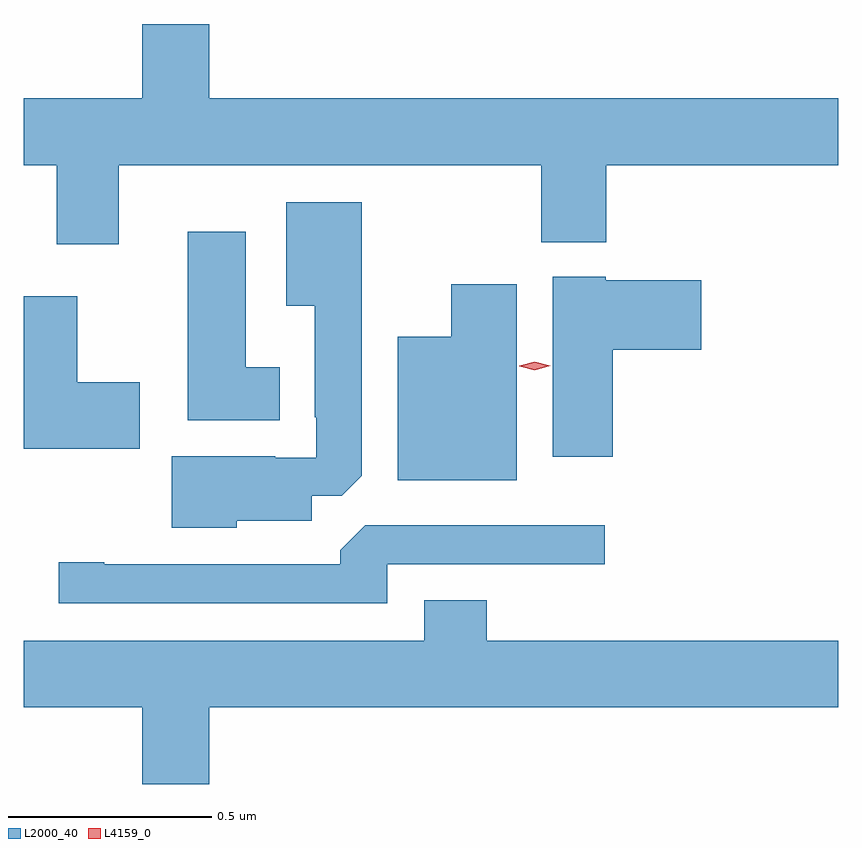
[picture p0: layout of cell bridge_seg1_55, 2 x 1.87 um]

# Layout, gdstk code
import gdstk
lib = gdstk.Library(unit=1e-6, precision=1e-09)
def P(c, l, *ps):  # polygons
    for p in ps: c.add(gdstk.Polygon(p, *l))
L2000_40 = (2000, 40)
L4159_0 = (4159, 0)

bridge_seg1_55 = lib.new_cell('bridge_seg1_55')
P(bridge_seg1_55, L2000_40, [(428.686,541.076),(429.724,541.076),(429.724,540.887),(429.884,540.887),(429.884,541.076),(430.453,541.076),(430.453,541.24),(428.908,541.24),(428.908,541.423),(428.744,541.423),(428.744,541.24),(428.453,541.24),(428.453,541.076),(428.534,541.076),(428.534,540.882),(428.686,540.882)],
  [(428.976,540.203),(429.16,540.203),(429.16,540.264),(429.234,540.264),(429.283,540.313),(429.283,540.985),(429.098,540.985),(429.098,540.731),(429.167,540.731),(429.167,540.457),(429.171,540.457),(429.171,540.357),(429.071,540.357),(429.071,540.361),(428.816,540.361),(428.816,540.185),(428.976,540.185)],
  [(429.082,540.58),(428.998,540.58),(428.998,540.913),(428.855,540.913),(428.855,540.449),(429.082,540.449)],
  [(429.899,540.623),(430.117,540.623),(430.117,540.793),(429.882,540.793),(429.882,540.802),(429.752,540.802),(429.752,540.36),(429.899,540.36)],
  [(429.664,540.784),(429.503,540.784),(429.503,540.655),(429.371,540.655),(429.371,540.302),(429.664,540.302)],
  [(428.737,540.543),(428.584,540.543),(428.584,540.754),(428.453,540.754),(428.453,540.38),(428.737,540.38)],
  [(429.345,540.096),(429.88,540.096),(429.88,540.192),(429.291,540.192),(429.23,540.13),(429.23,540.096),(428.65,540.096),(428.65,540.101),(428.538,540.101),(428.538,540),(429.345,540)],
  [(428.908,539.744),(430.453,539.744),(430.453,539.908),(429.59,539.908),(429.59,540.007),(429.437,540.007),(429.437,539.908),(428.453,539.908),(428.453,539.744),(428.744,539.744),(428.744,539.556),(428.908,539.556)])
P(bridge_seg1_55, L4159_0, [(429.708,540.573),(429.67,540.582),(429.67,540.582),(429.67,540.583),(429.708,540.593),(429.746,540.584),(429.746,540.584),(429.746,540.584)])

lib.write_gds('bridge_seg1_55.gds')
